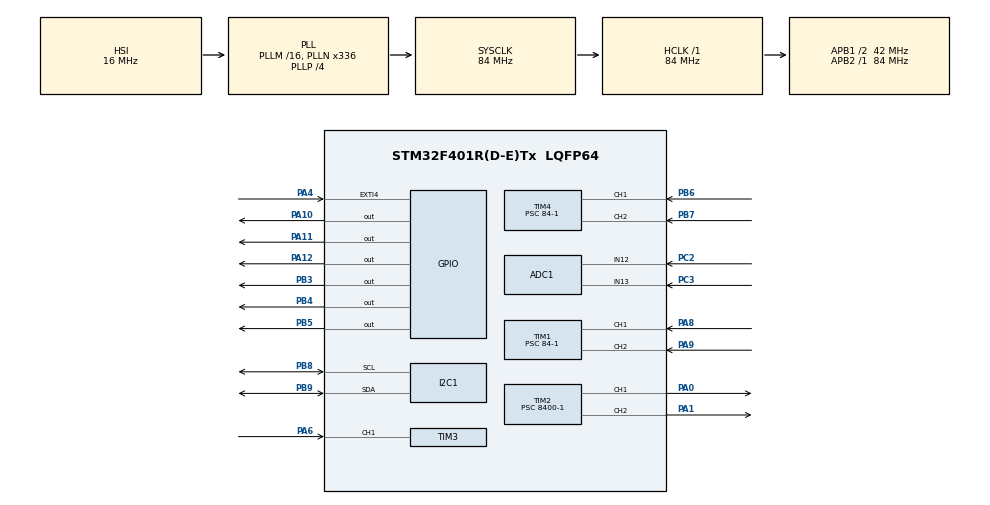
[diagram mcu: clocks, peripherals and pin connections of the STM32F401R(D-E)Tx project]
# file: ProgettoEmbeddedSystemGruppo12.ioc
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Mcu.Family=STM32F4
RCC.CortexFreq_Value=84000000
TIM2.Channel-PWM\ Generation2\ CH2=TIM_CHANNEL_2
RCC.SYSCLKSource=RCC_SYSCLKSOURCE_PLLCLK
ProjectManager.StackSize=0x400
PA12.Signal=GPIO_Output
TIM1.Prescaler=84-1
RCC.HCLKFreq_Value=84000000
RCC.APB2TimFreq_Value=84000000
TIM3.Period=0
VP_TIM10_VS_ClockSourceINT.Mode=Enable_Timer
PB6.Signal=S_TIM4_CH1
Dma.ADC1.0.Direction=DMA_PERIPH_TO_MEMORY
PC3.Signal=ADCx_IN13
NVIC.DMA2_Stream0_IRQn=true\:0\:0\:false\:false\:true\:false\:true
Dma.ADC1.0.MemDataAlignment=DMA_MDATAALIGN_WORD
RCC.AHBFreq_Value=84000000
ADC1.Channel-0\#ChannelRegularConversion=ADC_CHANNEL_12
RCC.HSE_VALUE=25000000
TIM3.Channel-Input_Capture1_from_TI1=TIM_CHANNEL_1
PA4.GPIO_PuPd=GPIO_PULLUP
ADC1.ScanConvMode=ENABLE
TIM3.Prescaler=84-1
Dma.ADC1.0.PeriphInc=DMA_PINC_DISABLE
SH.S_TIM4_CH2.0=TIM4_CH2,Encoder_Interface
PB7.Signal=S_TIM4_CH2
PA8.Signal=S_TIM1_CH1
TIM2.Channel-PWM\ Generation1\ CH1=TIM_CHANNEL_1
SH.S_TIM3_CH1.0=TIM3_CH1,Input_Capture1_from_TI1
TIM4.Period=0
ADC1.SamplingTime-0\#ChannelRegularConversion=ADC_SAMPLETIME_144CYCLES
TIM9.Prescaler=8400-1
PB9.Signal=I2C1_SDA
Mcu.Package=LQFP64
TIM2.Prescaler=8400-1
PA6.Signal=S_TIM3_CH1
PA10.Signal=GPIO_Output
SH.S_TIM4_CH1.0=TIM4_CH1,Encoder_Interface
RCC.APB1TimFreq_Value=84000000
Dma.ADC1.0.FIFOMode=DMA_FIFOMODE_DISABLE
TIM1.Period=0
Dma.Request0=ADC1
VP_TIM3_VS_ClockSourceINT.Mode=Internal
TIM9.Period=500-1
PB4.Signal=GPIO_Output
TIM10.Prescaler=84-1
NVIC.EXTI4_IRQn=true\:0\:0\:false\:false\:true\:true\:true
SH.ADCx_IN13.0=ADC1_IN13,IN13
Dma.ADC1.0.Instance=DMA2_Stream0
ADC1.Rank-0\#ChannelRegularConversion=1
PC2.Signal=ADCx_IN12
TIM11.Prescaler=84-1
RCC.APB1CLKDivider=RCC_HCLK_DIV2
PA0-WKUP.Signal=S_TIM2_CH1_ETR
VP_TIM11_VS_ClockSourceINT.Mode=Enable_Timer
SH.S_TIM2_CH2.0=TIM2_CH2,PWM Generation2 CH2
Dma.ADC1.0.PeriphDataAlignment=DMA_PDATAALIGN_WORD
SH.ADCx_IN12.0=ADC1_IN12,IN12
SH.S_TIM1_CH1.0=TIM1_CH1,Encoder_Interface
ProjectManager.TargetToolchain=STM32CubeIDE
Dma.ADC1.0.Mode=DMA_NORMAL
Dma.ADC1.0.Priority=DMA_PRIORITY_LOW
PB9.Mode=I2C
PA9.Signal=S_TIM1_CH2
ADC1.Channel-1\#ChannelRegularConversion=ADC_CHANNEL_13
PA4.GPIO_ModeDefaultEXTI=GPIO_MODE_IT_FALLING
TIM4.Prescaler=84-1
RCC.LSE_VALUE=32768
PA1.Signal=S_TIM2_CH2
board=custom
RCC.VCOOutputFreq_Value=336000000
VP_TIM9_VS_ClockSourceINT.Mode=Internal
NVIC.TIM3_IRQn=true\:0\:0\:false\:false\:true\:true\:true
TIM11.Period=0
TIM10.Period=0
RCC.APB2Freq_Value=84000000
SH.S_TIM1_CH2.0=TIM1_CH2,Encoder_Interface
VP_TIM2_VS_ClockSourceINT.Mode=Internal
TIM3.ICPolarity_CH1=TIM_INPUTCHANNELPOLARITY_BOTHEDGE
TIM2.Period=1000-1
ADC1.NbrOfConversion=2
Mcu.Name=STM32F401R(D-E)Tx
NVIC.TIM1_BRK_TIM9_IRQn=true\:0\:0\:false\:false\:true\:true\:true
I2C1.OwnAddress=0x4E
RCC.48MHZClocksFreq_Value=84000000
PB3.Signal=GPIO_Output
PA4.Signal=GPXTI4
ADC1.SamplingTime-1\#ChannelRegularConversion=ADC_SAMPLETIME_144CYCLES
RCC.SYSCLKFreq_VALUE=84000000
PB5.Signal=GPIO_Output
ADC1.master=1
ADC1.Rank-1\#ChannelRegularConversion=2
PA11.Signal=GPIO_Output
SH.S_TIM2_CH1_ETR.0=TIM2_CH1,PWM Generation1 CH1
Dma.ADC1.0.MemInc=DMA_MINC_ENABLE
ProjectManager.HeapSize=0x200
NVIC.TIM1_UP_TIM10_IRQn=true\:0\:0\:false\:false\:true\:true\:true
RCC.HSI_VALUE=16000000
RCC.PLLP=RCC_PLLP_DIV4
NVIC.PriorityGroup=NVIC_PRIORITYGROUP_4
ADC1.NbrOfConversionFlag=1
PB8.Mode=I2C
RCC.PLLN=336
PB8.Signal=I2C1_SCL
RCC.APB1Freq_Value=42000000

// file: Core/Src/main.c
/* USER CODE BEGIN Header */
/**
 ******************************************************************************
 * @file           : main.c
 * @brief          : Main program body
 ******************************************************************************
 * @attention
 *
 * <h2><center>&copy; Copyright (c) 2021 STMicroelectronics.
 * All rights reserved.</center></h2>
 *
 * This software component is licensed by ST under BSD 3-Clause license,
 * the "License"; You may not use this file except in compliance with the
 * License. You may obtain a copy of the License at:
 *                        opensource.org/licenses/BSD-3-Clause
 *
 ******************************************************************************
 */
/* USER CODE END Header */
#include "main.h"
#include "adc.h"
#include "dma.h"
#include "i2c.h"
#include "tim.h"
#include "gpio.h"

/* USER CODE BEGIN Includes */
#include "motor.h"
#include "buzzer.h"
#include "sonar.h"
#include "i2c-lcd.h"
#include "stdio.h"
/* USER CODE END Includes */

/* USER CODE BEGIN PD */
#define MAX_LENGTH_DISPLAY 16
#define MAX_JOY_VALUE 40
#define TIM_ENCODER_FREQUENCY 84
/* USER CODE END PD */

/* USER CODE BEGIN PV */
motor_class motor1;
motor_class motor2;
uint32_t joy_pos[2];
int speed1 = 0;
int speed2 = 0;
float distance = 0.0;
float new_distance = 0.0;
sonar_class sonar;
buzzer_class buzzer;
enum ALARM_TYPE previous_alarm = NO_ALARM;
enum ALARM_TYPE current_alarm = NO_ALARM;
char diplay_string[MAX_LENGTH_DISPLAY];
uint8_t calibration = 0;
uint32_t standard_x_pos = 0;
uint32_t standard_y_pos = 0;
/* USER CODE END PV */

void SystemClock_Config(void);

int main(void)
{

  /* MCU Configuration--------------------------------------------------------*/

  /* Reset of all peripherals, Initializes the Flash interface and the Systick. */
  HAL_Init();

  /* Configure the system clock */
  SystemClock_Config();

  /* Initialize all configured peripherals */
  MX_GPIO_Init();
  MX_DMA_Init();
  MX_ADC1_Init();
  MX_TIM2_Init();
  MX_TIM9_Init();
  MX_TIM3_Init();
  MX_TIM10_Init();
  MX_TIM11_Init();
  MX_I2C1_Init();
  MX_TIM1_Init();
  MX_TIM4_Init();
  /* USER CODE BEGIN 2 */

	motor__init__(&motor1, &htim2, TIM_CHANNEL_1, GPIOA, GPIOB, GPIO_PIN_10,
			GPIO_PIN_3,&htim4,TIM_ENCODER_FREQUENCY);
	motor__init__(&motor2, &htim2, TIM_CHANNEL_2, GPIOB, GPIOB, GPIO_PIN_5,
			GPIO_PIN_4,&htim1,TIM_ENCODER_FREQUENCY);
	sonar__init__(&sonar, &htim3, GPIOA, GPIO_PIN_12, TIM_CHANNEL_1, &htim11);
	buzzer__init__(&buzzer, &htim10, GPIOA, GPIO_PIN_11);
	motor_start(&motor1);
	motor_start(&motor2);
	lcd_init();
	HAL_ADC_Start_DMA(&hadc1, joy_pos, 2);
  /* USER CODE END 2 */

  /* Infinite loop */
  /* USER CODE BEGIN WHILE */
	while (1) {
		sonar_start(&sonar);
		HAL_Delay(250);
		lcd_clear();
		lcd_put_cur(0, 0);
		distance = sonar_get_distance(&sonar);
		sprintf(diplay_string, "Distance: %d", (int)distance);
		lcd_send_string(diplay_string);

    /* USER CODE END WHILE */

	}
}

void SystemClock_Config(void)
{
  RCC_OscInitTypeDef RCC_OscInitStruct = {0};
  RCC_ClkInitTypeDef RCC_ClkInitStruct = {0};

  /** Configure the main internal regulator output voltage
  */
  __HAL_RCC_PWR_CLK_ENABLE();
  __HAL_PWR_VOLTAGESCALING_CONFIG(PWR_REGULATOR_VOLTAGE_SCALE2);
  /** Initializes the RCC Oscillators according to the specified parameters
  * in the RCC_OscInitTypeDef structure.
  */
  RCC_OscInitStruct.OscillatorType = RCC_OSCILLATORTYPE_HSI;
  RCC_OscInitStruct.HSIState = RCC_HSI_ON;
  RCC_OscInitStruct.HSICalibrationValue = RCC_HSICALIBRATION_DEFAULT;
  RCC_OscInitStruct.PLL.PLLState = RCC_PLL_ON;
  RCC_OscInitStruct.PLL.PLLSource = RCC_PLLSOURCE_HSI;
  RCC_OscInitStruct.PLL.PLLM = 16;
  RCC_OscInitStruct.PLL.PLLN = 336;
  RCC_OscInitStruct.PLL.PLLP = RCC_PLLP_DIV4;
  RCC_OscInitStruct.PLL.PLLQ = 4;
  if (HAL_RCC_OscConfig(&RCC_OscInitStruct) != HAL_OK)
  {
    Error_Handler();
  }
  /** Initializes the CPU, AHB and APB buses clocks
  */
  RCC_ClkInitStruct.ClockType = RCC_CLOCKTYPE_HCLK|RCC_CLOCKTYPE_SYSCLK
                              |RCC_CLOCKTYPE_PCLK1|RCC_CLOCKTYPE_PCLK2;
  RCC_ClkInitStruct.SYSCLKSource = RCC_SYSCLKSOURCE_PLLCLK;
  RCC_ClkInitStruct.AHBCLKDivider = RCC_SYSCLK_DIV1;
  RCC_ClkInitStruct.APB1CLKDivider = RCC_HCLK_DIV2;
  RCC_ClkInitStruct.APB2CLKDivider = RCC_HCLK_DIV1;

  if (HAL_RCC_ClockConfig(&RCC_ClkInitStruct, FLASH_LATENCY_2) != HAL_OK)
  {
    Error_Handler();
  }
}

/* USER CODE BEGIN 4 */
enum ALARM_TYPE GetAlarmType(int distance) {
	if (distance > 0 && distance <= 10)
		return DANGER_ALARM;
	else if (distance > 10 && distance <= 20)
		return ALARM_4;
	else if (distance > 20 && distance <= 40)
		return ALARM_2;
	else if (distance > 40 && distance <= 60)
		return ALARM_1;
	return NO_ALARM;
}

void CaptureCallback(TIM_HandleTypeDef *htim) {
	if (htim->Instance == TIM3) {
		new_distance = sonar_compute_distance(&sonar, htim);
		if (new_distance != -1) {
			distance = new_distance;
			current_alarm = GetAlarmType((int) distance);
			if (current_alarm != previous_alarm) {
				previous_alarm = current_alarm;
				buzzer_set_alarm(&buzzer, current_alarm);
			}
		}
	}
}

void PeriodElapsedCallback(TIM_HandleTypeDef *htim) {
	if (htim->Instance == TIM3)
		sonar_timer_overflow(&sonar, htim);
	else if (htim->Instance == TIM10)
		buzzer_beep(&buzzer);
}

void HAL_ADC_ConvCpltCallback(ADC_HandleTypeDef *hadc) {
	if (!motor_is_stopped(&motor1)) {
		speed1 = -100 + ((100 - (-100)) / MAX_JOY_VALUE) * (joy_pos[0] / 100);
		speed2 = -100 + ((100 - (-100)) / MAX_JOY_VALUE) * (joy_pos[1] / 100);
		if (calibration) {
			standard_x_pos = speed1;
			standard_y_pos = speed2;
			calibration = 0;
		}
		if (speed1 == standard_x_pos)
			speed1 = 0;
		if (speed2 == standard_y_pos)
			speed2 = 0;
		if (speed1 >= 0 && speed2 >= 0) //avanti
				{
			motor_set_speed_and_direction(&motor1, FORWARD, speed1);
			motor_set_speed_and_direction(&motor2, FORWARD, speed1);
		} else if (speed1 < 0 && speed2 < 0) //indietro
				{
			motor_set_speed_and_direction(&motor1, BACKWARD, -1 * speed1);
			motor_set_speed_and_direction(&motor2, BACKWARD, -1 * speed1);
		} else if (speed1 < 0 && speed2 >= 0) //destra
				{
			motor_set_speed_and_direction(&motor1, BACKWARD, 0);
			motor_set_speed_and_direction(&motor2, BACKWARD, speed2);
		} else if (speed1 >= 0 && speed2 < 0) //sinistra
				{
			motor_set_speed_and_direction(&motor1, BACKWARD, -1 * speed2);
			motor_set_speed_and_direction(&motor2, BACKWARD, 0);
		}
	}

	HAL_ADC_Start_DMA(&hadc1, joy_pos, 2);
}

void Emergency_Stop_And_Go(void) {
	motor_stop_and_go(&motor1);
	motor_stop_and_go(&motor2);
}
/* USER CODE END 4 */

void Error_Handler(void)
{
	__disable_irq();
	while (1) {
	}
}

/************************ (C) COPYRIGHT STMicroelectronics *****END OF FILE****/
